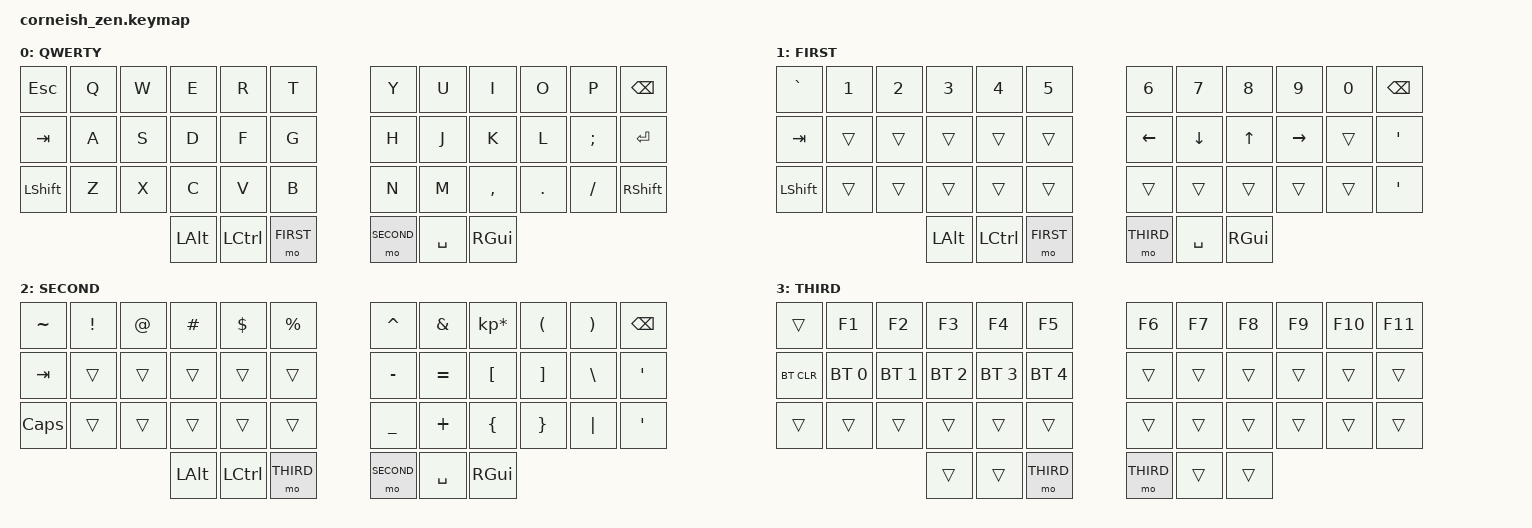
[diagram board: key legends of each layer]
#include <behaviors.dtsi>
#include <dt-bindings/zmk/keys.h>
#include <dt-bindings/zmk/bt.h>

#define QWERTY 0
#define FIRST 1
#define SECOND 2
#define THIRD 3

/ {
  chosen {
    zmk,matrix_transform = &default_transform;
    //zmk,matrix_transform = &five_column_transform;
  };
};

/ {
        keymap {
                compatible = "zmk,keymap";

                default_layer {
                        label = "QWERTY";
// -----------------------------------------------------------------------------------------
// |  ESC |  Q  |  W  |  E  |  R  |  T  |   |  Y  |  U  |  I  |  O  |  P  | BKSP |
// |  TAB |  A  |  S  |  D  |  F  |  G  |   |  H  |  J  |  K  |  L  |  ;  | ENT  |
// | SHFT |  Z  |  X  |  C  |  V  |  B  |   |  N  |  M  |  ,  |  .  |  /  | SHFT |
//                    | ALT | CTL | FST |   | SEC | SPC | GUI |
                        bindings = <
   &kp ESC   &kp Q &kp W &kp E &kp R &kp T   &kp Y &kp U  &kp I     &kp O   &kp P    &kp BSPC
   &kp TAB   &kp A &kp S &kp D &kp F &kp G   &kp H &kp J  &kp K     &kp L   &kp SEMI &kp RET
   &kp LSHFT &kp Z &kp X &kp C &kp V &kp B   &kp N &kp M  &kp COMMA &kp DOT &kp FSLH &kp RSHFT
               &kp LALT &kp LCTL &mo FIRST   &mo SECOND &kp SPC &kp RGUI
                        >;
                };
                first_layer {
                        label = "FIRST";
// -----------------------------------------------------------------------------------------
// |  `   |  1  |  2  |  3  |  4  |  5  |   |  6  |  7  |  8  |  9  |  0  | BKSP |
// | TAB  |     |     |     |     |     |   | LFT | DWN |  UP | RGT |     |  '   |
// | SHFT |     |     |     |     |     |   |     |     |     |     |     |  "   |
//                    | ALT | CTL | FST |   | TRD | SPC | GUI |
                        bindings = <
   &kp GRAVE &kp N1 &kp N2 &kp N3 &kp N4 &kp N5   &kp N6   &kp N7   &kp N8 &kp N9    &kp N0 &kp BSPC
   &kp TAB   &trans &trans &trans &trans &trans   &kp LEFT &kp DOWN &kp UP &kp RIGHT &trans &kp SQT
   &kp LSHFT &trans &trans &trans &trans &trans   &trans   &trans   &trans &trans    &trans &kp QUOT
                    &kp LALT &kp LCTL &mo FIRST   &mo THIRD &kp SPC &kp RGUI
                        >;
                };

                second_layer {
                        label = "SECOND";
// -----------------------------------------------------------------------------------------
// |  ~   |  !  |  @  |  #  |  $  |  %  |   |  ^  |  &  |  *  |  (  |  )  | BKSP |
// | TAB  |     |     |     |     |     |   |  -  |  =  |  [  |  ]  |  \  |  '   |
// | CAPS |     |     |     |     |     |   |  _  |  +  |  {  |  }  | "|" |  "   |
//                    | ALT | CTL | TRD |   | SEC | SPC | GUI |
                        bindings = <
   &kp TILDE &kp EXCL &kp AT &kp HASH &kp DLLR &kp PRCNT   &kp CARET &kp AMPS  &kp KP_MULTIPLY &kp LPAR &kp RPAR &kp BSPC
   &kp TAB   &trans   &trans &trans   &trans   &trans      &kp MINUS &kp EQUAL &kp LBKT        &kp RBKT &kp BSLH &kp SQT
   &kp CAPS  &trans   &trans &trans   &trans   &trans      &kp UNDER &kp PLUS  &kp LBRC        &kp RBRC &kp PIPE &kp QUOT
                             &kp LALT &kp LCTL &mo THIRD   &mo SECOND &kp SPC &kp RGUI
                        >;
                };


                third_layer {
                        label = "THIRD";
// -----------------------------------------------------------------------------------------
// |     | F1  | F2  | F3  | F4  | F5  |   | F6  | F7  | F8  | F9  | F10 | F11 |
// |BTCLR| B1  | B2  | B3  | B4  | B5  |   |     |     |     |     |     |     |
// |     |     |     |     |     |     |   |     |     |     |     |     |     |
//                   |     |     | TRD |   | TRD |     |     |
                        bindings = <
   &trans     &kp F1       &kp F2       &kp F3       &kp F4       &kp F5        &kp F6 &kp F7 &kp F8 &kp F9 &kp F10 &kp F11 
   &bt BT_CLR &bt BT_SEL 0 &bt BT_SEL 1 &bt BT_SEL 2 &bt BT_SEL 3 &bt BT_SEL 4  &trans &trans &trans &trans &trans  &trans
   &trans     &trans       &trans       &trans       &trans       &trans        &trans &trans &trans &trans &trans  &trans
                                                       &trans &trans &mo THIRD  &mo THIRD &trans &trans
                        >;
                };
        };
};
